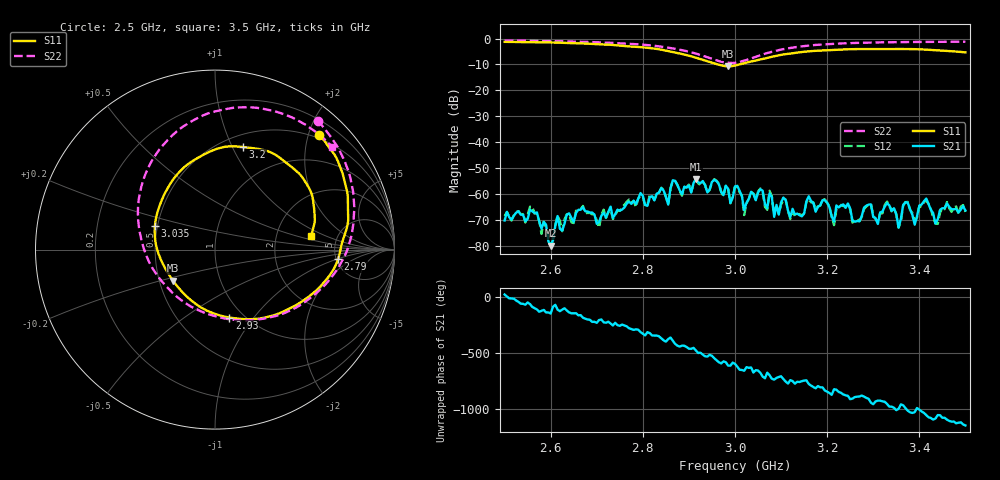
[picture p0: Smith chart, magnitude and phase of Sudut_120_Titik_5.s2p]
# Hz S RI R 50
! CMT, C1220, 16058040, 17.2.0/1
! Date: 15/08/2018 10:24:30
! Data: Format (Calibration Info)
! Freq  S11: Re/Im (F2)  S21: Re/Im (F2)  S12: Re/Im (F2)  S22: Re/Im (F2)
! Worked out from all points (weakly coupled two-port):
!   201 points, 2.5 GHz to 3.5 GHz, reference 50 ohm
!   highest |S21| = -54.23 dB at 2.915 GHz (marker M1); lowest = -80.0 dB at 2.6 GHz (marker M2)
!   lowest |S11| = -10.7 dB at 2.985 GHz (marker M3), VSWR 1.82, Z = 29.4 - j11.1 ohm
!   |S11| at or under -10 dB: 2.963 GHz to 3.01 GHz (47.16 MHz wide, 1.58 % of centre)
!   |S22| runs from -9.4 to -0.7 dB; largest |S21 - S12| = 0.00017
!   S11 on the Smith chart (normalised r, x): 2.5 GHz: 0.44, +2.19; 2.79 GHz: 5.20, -1.03; 2.93 GHz: 0.86, -0.76; 3.035 GHz: 0.48, +0.15; 3.2 GHz: 0.63, +1.10; 3.5 GHz: 3.20, +0.69
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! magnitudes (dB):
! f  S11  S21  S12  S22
! 2.5 GHz  -1.3  -70.2  -68.6  -0.7
! 2.56 GHz  -1.4  -66.7  -64.8  -0.9
! 2.6 GHz  -1.5  -80.0  -80.2  -1.0
! 2.615 GHz  -1.6  -68.5  -68.3  -1.0
! 2.67 GHz  -1.9  -65.1  -64.6  -1.3
! 2.705 GHz  -2.2  -70.9  -73.1  -1.5
! 2.79 GHz  -3.2  -61.8  -61.7  -2.2
! 2.835 GHz  -4.1  -59.4  -59.6  -3.0
! 2.915 GHz  -7.4  -54.2  -54.5  -5.8
! 2.93 GHz  -8.3  -55.0  -55.4  -6.6
! 2.985 GHz  -10.7  -57.9  -57.9  -9.4
! 3 GHz  -10.4  -57.1  -57.2  -9.4
! 3.02 GHz  -9.5  -66.2  -68.2  -8.5
! 3.035 GHz  -8.9  -59.2  -59.3  -7.7
! 3.17 GHz  -4.8  -63.4  -63.3  -2.6
! 3.2 GHz  -4.5  -63.3  -63.5  -2.2
! 3.215 GHz  -4.4  -70.7  -72.0  -2.0
! 3.335 GHz  -4.0  -64.5  -64.6  -1.4
! 3.355 GHz  -4.0  -73.0  -73.0  -1.4
! 3.37 GHz  -4.0  -63.2  -63.2  -1.3
! 3.39 GHz  -4.1  -71.9  -70.3  -1.3
! 3.5 GHz  -5.3  -66.4  -66.9  -1.2
